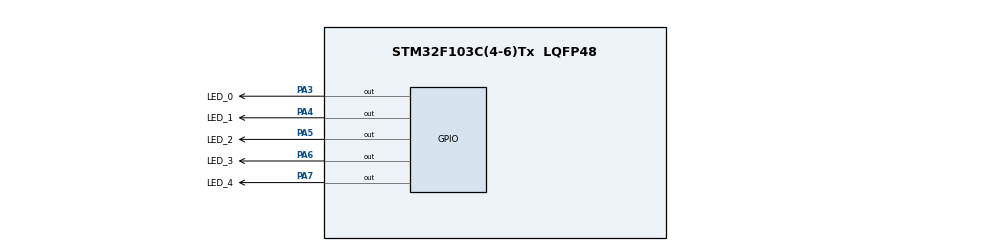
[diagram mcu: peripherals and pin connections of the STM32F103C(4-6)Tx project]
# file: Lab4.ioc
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Mcu.Family=STM32F1
Mcu.Name=STM32F103C(4-6)Tx
Mcu.Package=LQFP48
NVIC.PriorityGroup=NVIC_PRIORITYGROUP_4
NVIC.TIM2_IRQn=true\:0\:0\:false\:false\:true\:true\:true
PA3.GPIO_Label=LED_0
PA3.Signal=GPIO_Output
PA4.GPIO_Label=LED_1
PA4.Signal=GPIO_Output
PA5.GPIO_Label=LED_2
PA5.Signal=GPIO_Output
PA6.GPIO_Label=LED_3
PA6.Signal=GPIO_Output
PA7.GPIO_Label=LED_4
PA7.Signal=GPIO_Output
ProjectManager.HeapSize=0x200
ProjectManager.StackSize=0x400
ProjectManager.TargetToolchain=STM32CubeIDE
RCC.APB1Freq_Value=8000000
RCC.APB2Freq_Value=8000000
TIM2.Period=9
TIM2.Prescaler=7999
VP_SYS_VS_ND.Mode=No_Debug
VP_TIM2_VS_ClockSourceINT.Mode=Internal
board=custom

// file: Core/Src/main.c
/* USER CODE BEGIN Header */
/**
  ******************************************************************************
  * @file           : main.c
  * @brief          : Main program body
  ******************************************************************************
  * @attention
  *
  * <h2><center>&copy; Copyright (c) 2023 STMicroelectronics.
  * All rights reserved.</center></h2>
  *
  * This software component is licensed by ST under BSD 3-Clause license,
  * the "License"; You may not use this file except in compliance with the
  * License. You may obtain a copy of the License at:
  *                        opensource.org/licenses/BSD-3-Clause
  *
  ******************************************************************************
  */
/* USER CODE END Header */
#include "main.h"

TIM_HandleTypeDef htim2;

void SystemClock_Config(void);
static void MX_GPIO_Init(void);
static void MX_TIM2_Init(void);

/* USER CODE BEGIN 0 */
void task_0(void) {
	HAL_GPIO_TogglePin(LED_0_GPIO_Port, LED_0_Pin);
}
void task_1(void) {
	HAL_GPIO_TogglePin(LED_1_GPIO_Port, LED_1_Pin);
}

void task_2(void) {
	HAL_GPIO_TogglePin(LED_2_GPIO_Port, LED_2_Pin);
}

void task_3(void) {
	HAL_GPIO_TogglePin(LED_3_GPIO_Port, LED_3_Pin);
}

void task_4(void) {
	HAL_GPIO_TogglePin(LED_4_GPIO_Port, LED_4_Pin);
}
void LEDInit(void) {
	HAL_GPIO_WritePin(GPIOA, LED_0_Pin | LED_1_Pin | LED_2_Pin | LED_3_Pin | LED_4_Pin, 1);
}
/* USER CODE END 0 */

int main(void)
{

  /* MCU Configuration--------------------------------------------------------*/

  /* Reset of all peripherals, Initializes the Flash interface and the Systick. */
  HAL_Init();

  /* Configure the system clock */
  SystemClock_Config();

  /* Initialize all configured peripherals */
  MX_GPIO_Init();
  MX_TIM2_Init();
  /* USER CODE BEGIN 2 */
  HAL_TIM_Base_Start_IT(&htim2);
  /* USER CODE END 2 */

  /* Infinite loop */
  /* USER CODE BEGIN WHILE */
  SCH_Init();
  LEDInit();
  // Base tasks
  SCH_Add_Task(task_0, 0, 500);
  SCH_Add_Task(task_1, 1, 1000);
  SCH_Add_Task(task_2, 2, 1500);
  SCH_Add_Task(task_3, 3, 2000);
  // One-shot task
  SCH_Add_Task(task_4, 2500, 0);
  while (1)
  {
    /* USER CODE END WHILE */
	  SCH_Dispatch_Tasks();
  }
}

void SystemClock_Config(void)
{
  RCC_OscInitTypeDef RCC_OscInitStruct = {0};
  RCC_ClkInitTypeDef RCC_ClkInitStruct = {0};

  /** Initializes the RCC Oscillators according to the specified parameters
  * in the RCC_OscInitTypeDef structure.
  */
  RCC_OscInitStruct.OscillatorType = RCC_OSCILLATORTYPE_HSI;
  RCC_OscInitStruct.HSIState = RCC_HSI_ON;
  RCC_OscInitStruct.HSICalibrationValue = RCC_HSICALIBRATION_DEFAULT;
  RCC_OscInitStruct.PLL.PLLState = RCC_PLL_NONE;
  if (HAL_RCC_OscConfig(&RCC_OscInitStruct) != HAL_OK)
  {
    Error_Handler();
  }
  /** Initializes the CPU, AHB and APB buses clocks
  */
  RCC_ClkInitStruct.ClockType = RCC_CLOCKTYPE_HCLK|RCC_CLOCKTYPE_SYSCLK
                              |RCC_CLOCKTYPE_PCLK1|RCC_CLOCKTYPE_PCLK2;
  RCC_ClkInitStruct.SYSCLKSource = RCC_SYSCLKSOURCE_HSI;
  RCC_ClkInitStruct.AHBCLKDivider = RCC_SYSCLK_DIV1;
  RCC_ClkInitStruct.APB1CLKDivider = RCC_HCLK_DIV1;
  RCC_ClkInitStruct.APB2CLKDivider = RCC_HCLK_DIV1;

  if (HAL_RCC_ClockConfig(&RCC_ClkInitStruct, FLASH_LATENCY_0) != HAL_OK)
  {
    Error_Handler();
  }
}

static void MX_TIM2_Init(void)
{

  TIM_ClockConfigTypeDef sClockSourceConfig = {0};
  TIM_MasterConfigTypeDef sMasterConfig = {0};

  htim2.Instance = TIM2;
  htim2.Init.Prescaler = 7999;
  htim2.Init.CounterMode = TIM_COUNTERMODE_UP;
  htim2.Init.Period = 9;
  htim2.Init.ClockDivision = TIM_CLOCKDIVISION_DIV1;
  htim2.Init.AutoReloadPreload = TIM_AUTORELOAD_PRELOAD_DISABLE;
  if (HAL_TIM_Base_Init(&htim2) != HAL_OK)
  {
    Error_Handler();
  }
  sClockSourceConfig.ClockSource = TIM_CLOCKSOURCE_INTERNAL;
  if (HAL_TIM_ConfigClockSource(&htim2, &sClockSourceConfig) != HAL_OK)
  {
    Error_Handler();
  }
  sMasterConfig.MasterOutputTrigger = TIM_TRGO_RESET;
  sMasterConfig.MasterSlaveMode = TIM_MASTERSLAVEMODE_DISABLE;
  if (HAL_TIMEx_MasterConfigSynchronization(&htim2, &sMasterConfig) != HAL_OK)
  {
    Error_Handler();
  }

}

static void MX_GPIO_Init(void)
{
  GPIO_InitTypeDef GPIO_InitStruct = {0};

  /* GPIO Ports Clock Enable */
  __HAL_RCC_GPIOA_CLK_ENABLE();

  /*Configure GPIO pin Output Level */
  HAL_GPIO_WritePin(GPIOA, LED_0_Pin|LED_1_Pin|LED_2_Pin|LED_3_Pin
                          |LED_4_Pin, GPIO_PIN_RESET);

  /*Configure GPIO pins : LED_0_Pin LED_1_Pin LED_2_Pin LED_3_Pin
                           LED_4_Pin */
  GPIO_InitStruct.Pin = LED_0_Pin|LED_1_Pin|LED_2_Pin|LED_3_Pin
                          |LED_4_Pin;
  GPIO_InitStruct.Mode = GPIO_MODE_OUTPUT_PP;
  GPIO_InitStruct.Pull = GPIO_NOPULL;
  GPIO_InitStruct.Speed = GPIO_SPEED_FREQ_LOW;
  HAL_GPIO_Init(GPIOA, &GPIO_InitStruct);

}

/* USER CODE BEGIN 4 */
void HAL_TIM_PeriodElapsedCallback(TIM_HandleTypeDef *htim){
	SCH_Update();
}
/* USER CODE END 4 */

void Error_Handler(void)
{
  __disable_irq();
  while (1)
  {
  }
}

/************************ (C) COPYRIGHT STMicroelectronics *****END OF FILE****/
